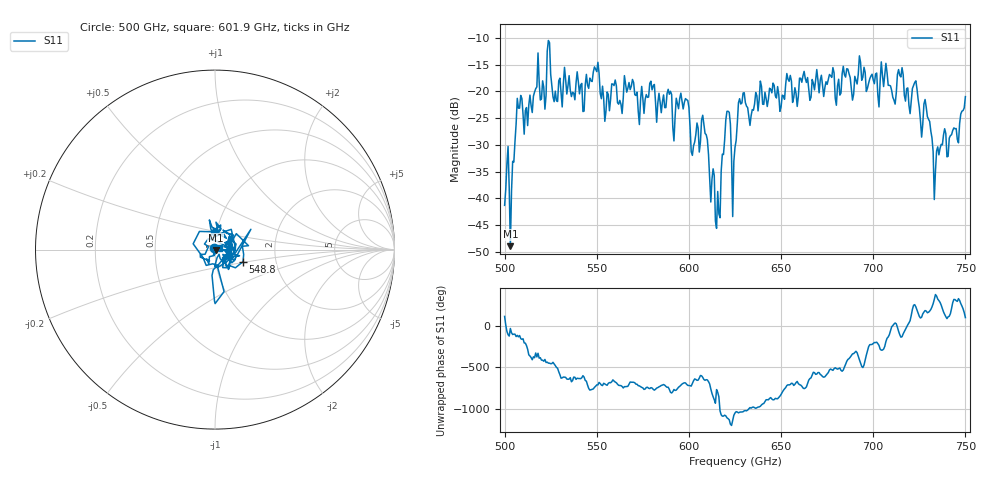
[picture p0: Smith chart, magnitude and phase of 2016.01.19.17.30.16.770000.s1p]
!Created with skrf (http://scikit-rf.org).
# GHz S RI R 50.0
!freq ReS11 ImS11
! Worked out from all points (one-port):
!   401 points, 500 GHz to 750 GHz, reference 50 ohm
!   lowest |S11| = -49.0 dB at 503.1 GHz (marker M1), VSWR 1.01, Z = 50.3 - j0.181 ohm
!   |S11| at or under -10 dB: start of sweep to end of sweep
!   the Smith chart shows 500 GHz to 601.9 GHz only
!   S11 on the Smith chart (normalised r, x): 500 GHz: 0.99, +0.02; 548.8 GHz: 1.36, -0.19; 601.9 GHz: 1.05, +0.02
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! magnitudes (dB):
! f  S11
! 500 GHz  -41.3
! 503.1 GHz  -49.0
! 508.1 GHz  -23.1
! 521.2 GHz  -19.2
! 524.4 GHz  -10.9
! 527.5 GHz  -19.9
! 531.2 GHz  -22.9
! 541.9 GHz  -18.5
! 548.8 GHz  -15.4
! 562.5 GHz  -21.7
! 568.8 GHz  -19.0
! 593.8 GHz  -22.2
! 598.8 GHz  -21.5
! 601.9 GHz  -32.0
! 608.1 GHz  -26.2
! 615.6 GHz  -38.7
! 620.6 GHz  -23.7
! 625 GHz  -30.5
! 628.8 GHz  -22.2
! 656.2 GHz  -22.1
! 687.5 GHz  -17.4
! 705.6 GHz  -19.1
! 711.2 GHz  -21.6
! 715 GHz  -17.3
! 718.8 GHz  -19.3
! 728.8 GHz  -23.0
! 734.4 GHz  -31.1
! 750 GHz  -21.0
